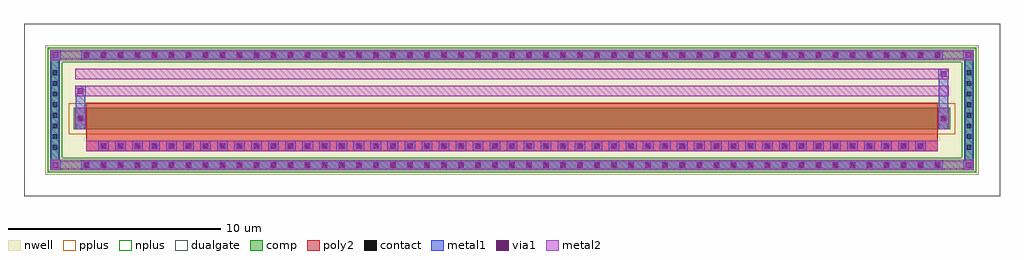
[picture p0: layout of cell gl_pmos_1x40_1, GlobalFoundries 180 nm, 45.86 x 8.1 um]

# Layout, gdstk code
import gdstk
lib = gdstk.Library(unit=1e-6, precision=1e-09)
def R(c, l, rs):  # rectangles x0, y0, x1, y1
    for r in rs: c.add(gdstk.rectangle(r[:2], r[2:], *l))
def A(c, l, x, y, w, h, nx, ny, dx, dy):  # array of equal rectangles
    R(c, l, [(x+i*dx, y+j*dy, x+i*dx+w, y+j*dy+h) for i in range(nx) for j in range(ny)])
def P(c, l, *ps):  # polygons
    for p in ps: c.add(gdstk.Polygon(p, *l))
nwell = (21, 0)
comp = (22, 0)
poly2 = (30, 0)
pplus = (31, 0)
nplus = (32, 0)
contact = (33, 0)
metal1 = (34, 0)
via1 = (35, 0)
metal2 = (36, 0)
dualgate = (55, 0)

gl_pmos_1x40_1 = lib.new_cell('gl_pmos_1x40_1')
R(gl_pmos_1x40_1, nwell, [(-21.93,-3.05,21.93,3.05), (-21.77,-2.89,21.77,2.89)])
A(gl_pmos_1x40_1, comp, -20.18, -2.77, 0.36, 0.36, 51, 2, 0.8, 5.18)
A(gl_pmos_1x40_1, comp, -21.65, -1.93, 0.36, 0.36, 1, 8, 0, 0.5)
A(gl_pmos_1x40_1, comp, 21.29, -1.93, 0.36, 0.36, 1, 8, 0, 0.5)
R(gl_pmos_1x40_1, comp, [(-20.18,-2.77,20.18,-2.41), (-21.65,-1.93,-21.29,1.93), (21.29,-1.93,21.65,1.93), (-20.6,-0.905,20.6,0.095), (-20.18,2.41,20.18,2.77)])
P(gl_pmos_1x40_1, comp, [(-21.65,-2.77),(-21.65,-2.41),(-21.29,-2.41),(21.29,-2.41),(21.29,2.41),(-21.29,2.41),(-21.29,-2.41),(-21.65,-2.41),(-21.65,2.77),(21.65,2.77),(21.65,-2.77)])
A(gl_pmos_1x40_1, poly2, -19.38, -1.875, 0.36, 0.36, 49, 1, 0.8, 0)
R(gl_pmos_1x40_1, poly2, [(-20,-1.945,20,-1.445), (-20,-1.445,20,-1.145), (-20,-1.145,20,0.335)])
R(gl_pmos_1x40_1, pplus, [(-20.83,-1.135,20.83,0.325)])
P(gl_pmos_1x40_1, nplus, [(-21.81,-2.93),(-21.81,-2.25),(-21.13,-2.25),(21.13,-2.25),(21.13,2.25),(-21.13,2.25),(-21.13,-2.25),(-21.81,-2.25),(-21.81,2.93),(21.81,2.93),(21.81,-2.93)])
A(gl_pmos_1x40_1, contact, -20.11, -2.7, 0.22, 0.22, 51, 2, 0.8, 5.18)
A(gl_pmos_1x40_1, contact, -21.58, -1.86, 0.22, 0.22, 1, 8, 0, 0.5)
A(gl_pmos_1x40_1, contact, 21.36, -1.86, 0.22, 0.22, 1, 8, 0, 0.5)
A(gl_pmos_1x40_1, contact, -19.31, -1.805, 0.22, 0.22, 49, 1, 0.8, 0)
R(gl_pmos_1x40_1, contact, [(-20.39,-0.515,-20.17,-0.295), (20.17,-0.515,20.39,-0.295)])
A(gl_pmos_1x40_1, metal1, -20.25, -2.84, 0.5, 0.5, 51, 2, 0.8, 5.18)
A(gl_pmos_1x40_1, metal1, -21.7, -1.98, 0.46, 0.46, 1, 8, 0, 0.5)
A(gl_pmos_1x40_1, metal1, 21.24, -1.98, 0.46, 0.46, 1, 8, 0, 0.5)
A(gl_pmos_1x40_1, metal1, -19.45, -1.945, 0.5, 0.5, 49, 1, 0.8, 0)
R(gl_pmos_1x40_1, metal1, [(-21.7,-2.84,-21.2,-2.34), (-21.7,-2.84,-21.2,-2.34), (-21.7,-2.84,-21.24,-2.41), (-20.25,-2.84,20.25,-2.34), (21.2,-2.84,21.7,-2.34), (21.2,-2.84,21.7,-2.34), (21.24,-2.84,21.7,-2.41), (-21.7,-2.41,-21.24,2.41), (21.24,-2.41,21.7,2.41), (-20.51,-0.905,-20.05,0.095), (20.05,-0.905,20.51,0.095), (-20.53,-0.655,-20.03,-0.155), (-20.53,-0.655,-20.03,-0.155), (20.03,-0.655,20.53,-0.155), (20.03,-0.655,20.53,-0.155), (-20.51,-0.635,-20.05,-0.175), (20.05,-0.635,20.51,-0.175), (-20.51,0.095,-20.05,1.145), (20.05,0.095,20.51,1.945), (-20.53,0.645,-20.03,1.145), (20.03,1.445,20.53,1.945), (-21.7,2.34,-21.2,2.84), (-21.7,2.34,-21.2,2.84), (-20.25,2.34,20.25,2.84), (21.2,2.34,21.7,2.84), (21.2,2.34,21.7,2.84), (-21.7,2.41,-21.24,2.84), (21.24,2.41,21.7,2.84)])
A(gl_pmos_1x40_1, via1, -20.13, -2.72, 0.26, 0.26, 51, 2, 0.8, 5.18)
A(gl_pmos_1x40_1, via1, -19.33, -1.825, 0.26, 0.26, 49, 1, 0.8, 0)
R(gl_pmos_1x40_1, via1, [(-21.58,-2.72,-21.32,-2.46), (21.32,-2.72,21.58,-2.46), (-20.41,-0.535,-20.15,-0.275), (20.15,-0.535,20.41,-0.275), (-20.41,0.765,-20.15,1.025), (20.15,1.565,20.41,1.825), (-21.58,2.46,-21.32,2.72), (21.32,2.46,21.58,2.72)])
A(gl_pmos_1x40_1, metal2, -20.25, -2.84, 0.5, 0.5, 51, 2, 0.8, 5.18)
A(gl_pmos_1x40_1, metal2, -19.45, -1.945, 0.5, 0.5, 49, 1, 0.8, 0)
R(gl_pmos_1x40_1, metal2, [(-21.7,-2.84,-21.2,-2.34), (-21.7,-2.84,-21.2,-2.34), (-21.7,-2.84,-21.29,-2.34), (-21.29,-2.84,21.29,-2.34), (21.2,-2.84,21.7,-2.34), (21.2,-2.84,21.7,-2.34), (21.29,-2.84,21.7,-2.34), (-20,-1.945,20,-1.445), (-20.53,-0.905,-20.03,0.095), (20.03,-0.905,20.53,0.095), (-20.53,-0.655,-20.03,-0.155), (20.03,-0.655,20.53,-0.155), (-20.53,0.645,20.53,1.145), (-20.53,0.645,-20.03,1.145), (-20.53,1.445,20.53,1.945), (20.03,1.445,20.53,1.945), (-21.7,2.34,-21.2,2.84), (-21.7,2.34,-21.2,2.84), (-21.7,2.34,-21.29,2.84), (-21.29,2.34,21.29,2.84), (21.2,2.34,21.7,2.84), (21.2,2.34,21.7,2.84), (21.29,2.34,21.7,2.84)])
R(gl_pmos_1x40_1, dualgate, [(-22.93,-4.05,22.93,4.05)])

lib.write_gds('gl_pmos_1x40_1.gds')
